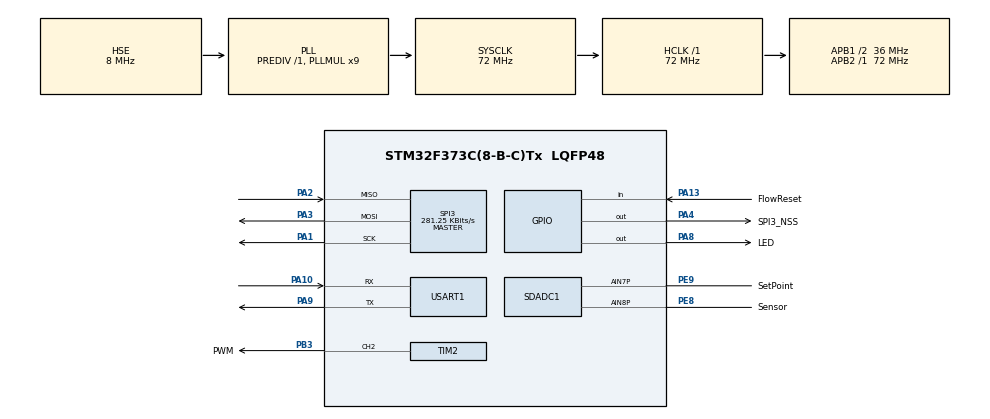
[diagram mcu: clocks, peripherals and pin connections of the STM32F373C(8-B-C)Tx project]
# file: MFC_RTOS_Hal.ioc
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Dma.Request0=SDADC1
Dma.Request1=TIM2_CH2/CH4
Dma.SDADC1.0.Direction=DMA_PERIPH_TO_MEMORY
Dma.SDADC1.0.Instance=DMA2_Channel3
Dma.SDADC1.0.MemDataAlignment=DMA_MDATAALIGN_HALFWORD
Dma.SDADC1.0.MemInc=DMA_MINC_ENABLE
Dma.SDADC1.0.Mode=DMA_CIRCULAR
Dma.SDADC1.0.PeriphDataAlignment=DMA_PDATAALIGN_HALFWORD
Dma.SDADC1.0.PeriphInc=DMA_PINC_DISABLE
Dma.SDADC1.0.Priority=DMA_PRIORITY_LOW
Dma.TIM2_CH2/CH4.1.Direction=DMA_MEMORY_TO_PERIPH
Dma.TIM2_CH2/CH4.1.Instance=DMA1_Channel7
Dma.TIM2_CH2/CH4.1.MemDataAlignment=DMA_MDATAALIGN_WORD
Dma.TIM2_CH2/CH4.1.MemInc=DMA_MINC_ENABLE
Dma.TIM2_CH2/CH4.1.Mode=DMA_CIRCULAR
Dma.TIM2_CH2/CH4.1.PeriphDataAlignment=DMA_PDATAALIGN_WORD
Dma.TIM2_CH2/CH4.1.PeriphInc=DMA_PINC_DISABLE
Dma.TIM2_CH2/CH4.1.Priority=DMA_PRIORITY_HIGH
FREERTOS.Tasks01=defaultTask,0,128,StartDefaultTask,Default,NULL,Dynamic,NULL,NULL;SDADCIIRFilter,0,128,StartSDADCIIRFilter,Default,NULL,Dynamic,NULL,NULL;eMBPoll,2,128,StarteMBPoll,Default,NULL,Dynamic,NULL,NULL;PID,3,128,StartPID,Default,NULL,Dynamic,NULL,NULL;CheckKeyDown,-1,128,StartCheckKeyDown,Default,NULL,Dynamic,NULL,NULL;TaskMonitor,3,128,StartTaskMonitor,Default,NULL,Dynamic,NULL,NULL
FREERTOS.configTOTAL_HEAP_SIZE=5000
Mcu.Family=STM32F3
Mcu.Name=STM32F373C(8-B-C)Tx
Mcu.Package=LQFP48
NVIC.DMA1_Channel7_IRQn=true\:5\:0\:false\:false\:true\:true\:true\:true
NVIC.DMA2_Channel3_IRQn=true\:5\:0\:false\:false\:true\:true\:false\:true
NVIC.PriorityGroup=NVIC_PRIORITYGROUP_4
NVIC.RCC_IRQn=true\:5\:0\:false\:false\:true\:true\:true\:false
NVIC.TIM3_IRQn=true\:5\:0\:true\:false\:true\:true\:true\:true
NVIC.TIM4_IRQn=true\:0\:0\:false\:false\:true\:false\:false\:true
NVIC.TimeBase=TIM4_IRQn
NVIC.TimeBaseIP=TIM4
NVIC.USART1_IRQn=true\:5\:0\:true\:false\:true\:true\:true\:true
PA1.GPIO_PuPd=GPIO_PULLUP
PA1.Mode=Full_Duplex_Master
PA1.Signal=SPI3_SCK
PA10.GPIO_PuPd=GPIO_PULLUP
PA10.Mode=Asynchronous
PA10.Signal=USART1_RX
PA13.GPIO_Label=FlowReset
PA13.Signal=GPIO_Input
PA2.GPIO_PuPd=GPIO_PULLUP
PA2.Mode=Full_Duplex_Master
PA2.Signal=SPI3_MISO
PA3.GPIO_PuPd=GPIO_PULLUP
PA3.Mode=Full_Duplex_Master
PA3.Signal=SPI3_MOSI
PA4.GPIO_Label=SPI3_NSS
PA4.GPIO_PuPd=GPIO_PULLUP
PA4.GPIO_Speed=GPIO_SPEED_FREQ_HIGH
PA4.Signal=GPIO_Output
PA8.GPIO_Label=LED
PA8.GPIO_ModeDefaultOutputPP=GPIO_MODE_OUTPUT_PP
PA8.GPIO_PuPd=GPIO_PULLUP
PA8.Signal=GPIO_Output
PA9.GPIO_PuPd=GPIO_PULLUP
PA9.Mode=Asynchronous
PA9.Signal=USART1_TX
PB3.GPIO_Label=PWM
PB3.GPIO_PuPd=GPIO_PULLUP
PB3.Signal=S_TIM2_CH2
PE8.GPIO_Label=Sensor
PE8.Mode=IN8-Single-Ended zero reference
PE8.Signal=SDADC1_AIN8P
PE9.GPIO_Label=SetPoint
PE9.Mode=IN7-Single-Ended zero reference
PE9.Signal=SDADC1_AIN7P
PF0-OSC_IN.Mode=HSE-External-Oscillator
PF0-OSC_IN.Signal=RCC_OSC_IN
PF1-OSC_OUT.Mode=HSE-External-Oscillator
PF1-OSC_OUT.Signal=RCC_OSC_OUT
ProjectManager.HeapSize=0x200
ProjectManager.StackSize=0x400
ProjectManager.TargetToolchain=MDK-ARM V5
RCC.AHBFreq_Value=72000000
RCC.APB1CLKDivider=RCC_HCLK_DIV2
RCC.APB1Freq_Value=36000000
RCC.APB1TimFreq_Value=72000000
RCC.APB2Freq_Value=72000000
RCC.APB2TimFreq_Value=72000000
RCC.CortexFreq_Value=72000000
RCC.HCLKFreq_Value=72000000
RCC.HSE_VALUE=8000000
RCC.HSI_VALUE=8000000
RCC.LSE_VALUE=32768
RCC.PLLMUL=RCC_PLL_MUL9
RCC.PLLSourceVirtual=RCC_PLLSOURCE_HSE
RCC.SDADCPresc=RCC_SDADCSYSCLK_DIV12
RCC.SYSCLKFreq_VALUE=72000000
RCC.SYSCLKSource=RCC_SYSCLKSOURCE_PLLCLK
RCC.USBFreq_Value=72000000
SDADC1.Channel-0\#ChannelRegularConversion=SDADC_CHANNEL_7
SDADC1.CommonMode0=SDADC_COMMON_MODE_VSSA
SDADC1.ConfIndex-0\#ChannelRegularConversion=SDADC_CONF_INDEX_0
SDADC1.EnableInjectedConversion=ENABLE
SDADC1.EnableRegularconversion=DISABLE
SDADC1.IdleLowPowerMode=SDADC_LOWPOWER_NONE
SDADC1.InjNumberOfConversion=2
SDADC1.InjectedChannel-1\#ChannelInjectedConversion=SDADC_CHANNEL_7
SDADC1.InjectedChannel-2\#ChannelInjectedConversion=SDADC_CHANNEL_8
SDADC1.InjectedChannelsSelection=SDADC_CHANNEL_7|SDADC_CHANNEL_8
SDADC1.InjectedConfIndex-1\#ChannelInjectedConversion=SDADC_CONF_INDEX_0
SDADC1.InjectedConfIndex-2\#ChannelInjectedConversion=SDADC_CONF_INDEX_0
SDADC1.InjectedContinuousMode=SDADC_CONTINUOUS_CONV_ON
SDADC1.InjectedRank-1\#ChannelInjectedConversion=1
SDADC1.InjectedRank-2\#ChannelInjectedConversion=2
SDADC1.InputMode0=SDADC_INPUT_MODE_SE_ZERO_REFERENCE
SDADC1.NbrOfConversionFlag=1
SDADC1.ReferenceVoltage=SDADC_VREF_EXT
SH.S_TIM2_CH2.0=TIM2_CH2,PWM Generation2 CH2
SPI3.BaudRatePrescaler=SPI_BAUDRATEPRESCALER_128
SPI3.CLKPhase=SPI_PHASE_2EDGE
SPI3.CRCCalculation=SPI_CRCCALCULATION_DISABLE
SPI3.CalculateBaudRate=281.25 KBits/s
SPI3.DataSize=SPI_DATASIZE_8BIT
SPI3.Direction=SPI_DIRECTION_2LINES
SPI3.Mode=SPI_MODE_MASTER
SPI3.VirtualType=VM_MASTER
TIM2.AutoReloadPreload=TIM_AUTORELOAD_PRELOAD_ENABLE
TIM2.Channel-PWM\ Generation2\ CH2=TIM_CHANNEL_2
TIM2.OCFastMode_PWM-PWM\ Generation2\ CH2=TIM_OCFAST_ENABLE
TIM2.Period=65535
TIM2.Pulse-PWM\ Generation2\ CH2=50
TIM2.TIM_MasterOutputTrigger=TIM_TRGO_RESET
TIM2.TIM_MasterSlaveMode=TIM_MASTERSLAVEMODE_DISABLE
TIM3.AutoReloadPreload=TIM_AUTORELOAD_PRELOAD_ENABLE
TIM3.Period=0x7E54
TIM3.Prescaler=0x3
USART1.AutoBaudRateEnableParam=UART_ADVFEATURE_AUTOBAUDRATE_DISABLE
USART1.VirtualMode-Asynchronous=VM_ASYNC
VP_CRC_VS_CRC.Mode=CRC_Activate
VP_FREERTOS_VS_CMSIS_V1.Mode=CMSIS_V1
VP_SDADC1_CONF0.Mode=ConfigZero
VP_SYS_VS_tim4.Mode=TIM4
VP_TIM3_VS_ClockSourceINT.Mode=Internal
board=custom

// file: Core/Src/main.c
/* USER CODE BEGIN Header */
/**
  ******************************************************************************
  * @file           : main.c
  * @brief          : Main program body
  ******************************************************************************
  * @attention
  *
  * <h2><center>&copy; Copyright (c) 2019 STMicroelectronics.
  * All rights reserved.</center></h2>
  *
  * This software component is licensed by ST under Ultimate Liberty license
  * SLA0044, the "License"; You may not use this file except in compliance with
  * the License. You may obtain a copy of the License at:
  *                             www.st.com/SLA0044
  *
  ******************************************************************************
  */
/* USER CODE END Header */

#include "main.h"
#include "cmsis_os.h"
#include "crc.h"
#include "dma.h"
#include "sdadc.h"
#include "spi.h"
#include "tim.h"
#include "usart.h"
#include "gpio.h"

/* USER CODE BEGIN PV */
extern uint16_t VirtAddVarTab[NB_OF_VARIABLES];
/* USER CODE END PV */

void SystemClock_Config(void);
void MX_FREERTOS_Init(void);

int main(void)
{

  /* MCU Configuration--------------------------------------------------------*/

  /* Reset of all peripherals, Initializes the Flash interface and the Systick. */
  HAL_Init();

  /* Configure the system clock */
  SystemClock_Config();

  /* Initialize all configured peripherals */
  MX_GPIO_Init();
  MX_DMA_Init();
  MX_SDADC1_Init();
  MX_TIM2_Init();
  MX_USART1_UART_Init();
  MX_SPI3_Init();
  MX_TIM3_Init();
  MX_CRC_Init();
  /* USER CODE BEGIN 2 */

	SDADC_Config();
	AD5761_Config();
	StartTimPwmDMA();

	MFCInit();
	//EEPROM_INIT();//MFCInit depended
	//eMBMode eMode, UCHAR ucSlaveAddress, UCHAR ucPort, ULONG ulBaudRate, eMBParity eParity
	//eMBInit( MB_RTU, 0x20, 1, 9600, MB_PAR_NONE );
	eMBInit( sMacBaudrate->MBmode, sMacBaudrate->RS485MacAddress, 1, sMacBaudrate->baudrate, MB_PAR_NONE );
  eMBEnable(  );

  /* USER CODE END 2 */

  /* Call init function for freertos objects (in freertos.c) */
  MX_FREERTOS_Init();

  /* Start scheduler */
  osKernelStart();

  /* We should never get here as control is now taken by the scheduler */

  /* Infinite loop */
  while (1)
  {

  }
}

void SystemClock_Config(void)
{
  RCC_OscInitTypeDef RCC_OscInitStruct = {0};
  RCC_ClkInitTypeDef RCC_ClkInitStruct = {0};
  RCC_PeriphCLKInitTypeDef PeriphClkInit = {0};

  /** Initializes the CPU, AHB and APB busses clocks
  */
  RCC_OscInitStruct.OscillatorType = RCC_OSCILLATORTYPE_HSE;
  RCC_OscInitStruct.HSEState = RCC_HSE_ON;
  RCC_OscInitStruct.HSEPredivValue = RCC_HSE_PREDIV_DIV1;
  RCC_OscInitStruct.HSIState = RCC_HSI_ON;
  RCC_OscInitStruct.PLL.PLLState = RCC_PLL_ON;
  RCC_OscInitStruct.PLL.PLLSource = RCC_PLLSOURCE_HSE;
  RCC_OscInitStruct.PLL.PLLMUL = RCC_PLL_MUL9;
  if (HAL_RCC_OscConfig(&RCC_OscInitStruct) != HAL_OK)
  {
    Error_Handler();
  }
  /** Initializes the CPU, AHB and APB busses clocks
  */
  RCC_ClkInitStruct.ClockType = RCC_CLOCKTYPE_HCLK|RCC_CLOCKTYPE_SYSCLK
                              |RCC_CLOCKTYPE_PCLK1|RCC_CLOCKTYPE_PCLK2;
  RCC_ClkInitStruct.SYSCLKSource = RCC_SYSCLKSOURCE_PLLCLK;
  RCC_ClkInitStruct.AHBCLKDivider = RCC_SYSCLK_DIV1;
  RCC_ClkInitStruct.APB1CLKDivider = RCC_HCLK_DIV2;
  RCC_ClkInitStruct.APB2CLKDivider = RCC_HCLK_DIV1;

  if (HAL_RCC_ClockConfig(&RCC_ClkInitStruct, FLASH_LATENCY_2) != HAL_OK)
  {
    Error_Handler();
  }
  PeriphClkInit.PeriphClockSelection = RCC_PERIPHCLK_USART1|RCC_PERIPHCLK_SDADC;
  PeriphClkInit.Usart1ClockSelection = RCC_USART1CLKSOURCE_PCLK2;
  PeriphClkInit.SdadcClockSelection = RCC_SDADCSYSCLK_DIV48;
  if (HAL_RCCEx_PeriphCLKConfig(&PeriphClkInit) != HAL_OK)
  {
    Error_Handler();
  }
  HAL_PWREx_EnableSDADC(PWR_SDADC_ANALOG1);
}

void HAL_TIM_PeriodElapsedCallback(TIM_HandleTypeDef *htim)
{
  if (htim->Instance == TIM4) {
    HAL_IncTick();
  }
}

void Error_Handler(void)
{
}

#ifdef  USE_FULL_ASSERT
/**
  * @brief  Reports the name of the source file and the source line number
  *         where the assert_param error has occurred.
  * @param  file: pointer to the source file name
  * @param  line: assert_param error line source number
  * @retval None
  */
void assert_failed(char *file, uint32_t line)
{
  /* USER CODE BEGIN 6 */
  /* User can add his own implementation to report the file name and line number,
     tex: printf("Wrong parameters value: file %s on line %d\r\n", file, line) */
	printf("msg:  %s value %d\r\n", file, line);
  /* USER CODE END 6 */
}
#endif /* USE_FULL_ASSERT */

/************************ (C) COPYRIGHT STMicroelectronics *****END OF FILE****/

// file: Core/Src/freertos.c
/* USER CODE BEGIN Header */
/**
  ******************************************************************************
  * File Name          : freertos.c
  * Description        : Code for freertos applications
  ******************************************************************************
  * @attention
  *
  * <h2><center>&copy; Copyright (c) 2019 STMicroelectronics.
  * All rights reserved.</center></h2>
  *
  * This software component is licensed by ST under Ultimate Liberty license
  * SLA0044, the "License"; You may not use this file except in compliance with
  * the License. You may obtain a copy of the License at:
  *                             www.st.com/SLA0044
  *
  ******************************************************************************
  */
/* USER CODE END Header */

#include "FreeRTOS.h"
#include "task.h"
#include "main.h"
#include "cmsis_os.h"

/* USER CODE BEGIN Includes */
/* Virtual address Tab defined by the user: 0x0000 and 0xFFFF values are prohibited */
uint16_t VirtAddVarTabTest[NB_OF_VARIABLES];
uint32_t Index = 0;
__IO uint32_t ErasingOnGoing = 0;
uint32_t VarDataTab[NB_OF_VARIABLES] = {0};
uint32_t VarValue=0;
/* USER CODE END Includes */

osThreadId defaultTaskHandle;
osThreadId SDADCIIRFilterHandle;
osThreadId eMBPollHandle;
osThreadId PIDHandle;
osThreadId CheckKeyDownHandle;
osThreadId TaskMonitorHandle;

void StartDefaultTask(void const * argument);
void StartSDADCIIRFilter(void const * argument);
void StarteMBPoll(void const * argument);
void StartPID(void const * argument);
void StartCheckKeyDown(void const * argument);
void StartTaskMonitor(void const * argument);

void MX_FREERTOS_Init(void); /* (MISRA C 2004 rule 8.1) */

void MX_FREERTOS_Init(void) {

  /* Create the thread(s) */
  /* definition and creation of defaultTask */
  osThreadDef(defaultTask, StartDefaultTask, osPriorityNormal, 0, 128);
  defaultTaskHandle = osThreadCreate(osThread(defaultTask), NULL);

  /* definition and creation of SDADCIIRFilter */
  osThreadDef(SDADCIIRFilter, StartSDADCIIRFilter, osPriorityNormal, 0, 128);
  SDADCIIRFilterHandle = osThreadCreate(osThread(SDADCIIRFilter), NULL);

  /* definition and creation of eMBPoll */
  osThreadDef(eMBPoll, StarteMBPoll, osPriorityHigh, 0, 128);
  eMBPollHandle = osThreadCreate(osThread(eMBPoll), NULL);

  /* definition and creation of PID */
  osThreadDef(PID, StartPID, osPriorityRealtime, 0, 128);
  PIDHandle = osThreadCreate(osThread(PID), NULL);

  /* definition and creation of CheckKeyDown */
  osThreadDef(CheckKeyDown, StartCheckKeyDown, osPriorityBelowNormal, 0, 128);
  CheckKeyDownHandle = osThreadCreate(osThread(CheckKeyDown), NULL);

  /* definition and creation of TaskMonitor */
  osThreadDef(TaskMonitor, StartTaskMonitor, osPriorityRealtime, 0, 128);
  TaskMonitorHandle = osThreadCreate(osThread(TaskMonitor), NULL);

}

void StartDefaultTask(void const * argument)
{

  /* USER CODE BEGIN StartDefaultTask */
  /* Infinite loop */
  for(;;)
  {
		FlowAccumulator();
		if(GetSoftStartCounter()>0){
			SoftStartCountintDown();
		}
    osDelay(1000);
  }
  /* USER CODE END StartDefaultTask */
}

void StartSDADCIIRFilter(void const * argument)
{
  /* USER CODE BEGIN StartSDADCIIRFilter */

  /* Infinite loop */
  for(;;)
  {
		VOL_IIR_Filter();

    osDelay(10);
  }
  /* USER CODE END StartSDADCIIRFilter */
}

void StarteMBPoll(void const * argument)
{
  /* USER CODE BEGIN StarteMBPoll */

  /* Infinite loop */
  for(;;)
  {
    osDelay(10);//一定要空闲等待，要不高优先级的任务不会退出导致其他任务无法执行！
		eMBPoll( );
  }
  /* USER CODE END StarteMBPoll */
}

void StartPID(void const * argument)
{
  /* USER CODE BEGIN StartPID */
  /* Infinite loop */
  for(;;)
  {
		if(emValvePID == sValveCommand->valveCommand){// 1 valve off,2 valve on,0,valve pid
			PID_Start();
			osDelay(spid->PID_ControlCycle);
		}else{
			osDelay(100);
		}
		HAL_GPIO_TogglePin(GPIOA,GPIO_PIN_8);
  }
  /* USER CODE END StartPID */
}

void StartCheckKeyDown(void const * argument)
{
  /* USER CODE BEGIN StartCheckKeyDown */
  /* Infinite loop */

  for(;;)
  {
		if(HAL_GPIO_ReadPin(FlowReset_GPIO_Port,FlowReset_Pin) == 0){
						osDelay(2000);
						if(HAL_GPIO_ReadPin(FlowReset_GPIO_Port,FlowReset_Pin) == 0){
								//ResetFlowAccumulator();
								ResetFlowOffset();
								HAL_GPIO_TogglePin(GPIOA,GPIO_PIN_8);
								osDelay(500);
								HAL_GPIO_TogglePin(GPIOA,GPIO_PIN_8);
								osDelay(500);
								HAL_GPIO_TogglePin(GPIOA,GPIO_PIN_8);
								osDelay(500);
								HAL_GPIO_TogglePin(GPIOA,GPIO_PIN_8);
						}
				}
    osDelay(1000);
  }
  /* USER CODE END StartCheckKeyDown */
}

void StartTaskMonitor(void const * argument)
{
  /* USER CODE BEGIN StartTaskMonitor */
  /* Infinite loop */

  for(;;)
  {
    osDelay(5000);
  }
  /* USER CODE END StartTaskMonitor */
}

/************************ (C) COPYRIGHT STMicroelectronics *****END OF FILE****/
